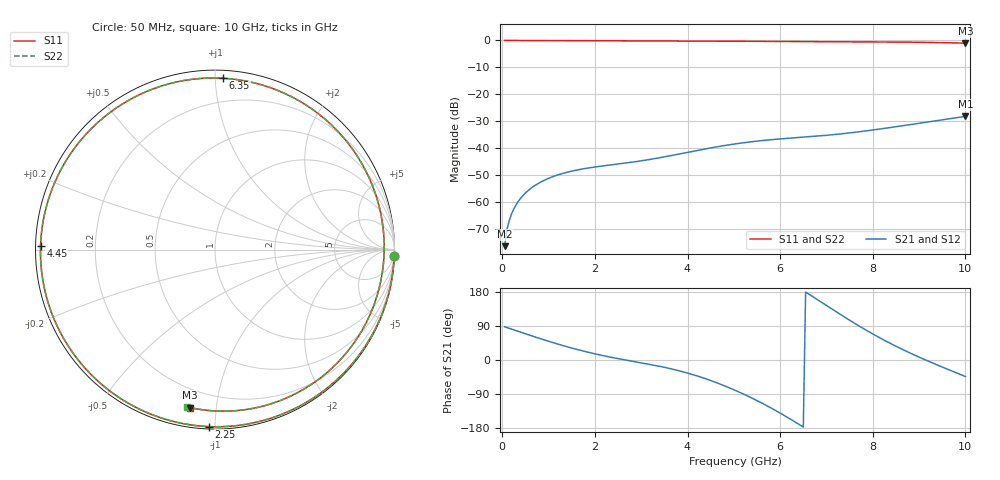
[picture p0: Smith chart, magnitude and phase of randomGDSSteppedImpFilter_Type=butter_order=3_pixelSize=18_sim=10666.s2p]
! freq	dB(S11)	phase(S11)	dB(S12)	phase(S12)
!  dB(S21)	phase(S21)	dB(S22)	phase(S22)
!S-par simulation data
#  GHz  S  DB  R 50
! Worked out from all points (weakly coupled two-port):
!   200 points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, 50 MHz to 10 GHz, reference 50 ohm
!   highest |S21| = -28.22 dB at 10 GHz (marker M1); lowest = -76.5 dB at 50 MHz (marker M2)
!   lowest |S11| = -1.0 dB at 10 GHz (marker M3), VSWR 17.33, Z = 4.97 - j42.4 ohm
!   |S11| at or under -10 dB: nowhere
!   |S22| runs from -1.0 to 0.0 dB; largest |S21 - S12| = 0
!   S11 on the Smith chart (normalised r, x): 50 MHz: 1, -54; 2.25 GHz: 0.01, -0.97; 4.45 GHz: 0.01, +0.01; 6.35 GHz: 0.05, +1.05; 10 GHz: 0.10, -0.85
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0.05  -0.01 -2.1  -76.46 87.7  -76.46 87.7  -0.01 -2.1
0.1  -0.01 -4.2  -70.47 85.6  -70.47 85.6  -0.01 -4.2
0.2  -0.01 -8.4  -64.49 81.5  -64.49 81.5  -0.01 -8.4
0.5  -0.02 -20.9  -56.70 69.2  -56.70 69.2  -0.02 -20.9
1  -0.05 -41.6  -51.24 49.4  -51.24 49.4  -0.05 -41.6
1.75  -0.09 -72.0  -47.71 23.5  -47.71 23.5  -0.09 -72.0
2.25  -0.11 -92.0  -46.46 9.6  -46.46 9.6  -0.11 -92.0
2.8  -0.14 -113.8  -45.25 -3.0  -45.25 -3.0  -0.14 -113.8
3.4  -0.18 -137.7  -43.58 -16.6  -43.58 -16.6  -0.18 -137.7
3.95  -0.21 -160.1  -41.75 -32.7  -41.75 -32.7  -0.21 -160.1
4.45  -0.25 178.7  -40.10 -52.0  -40.10 -52.0  -0.25 178.7
5.05  -0.29 151.9  -38.40 -81.1  -38.40 -81.1  -0.29 151.8
5.75  -0.35 118.2  -36.97 -123.1  -36.97 -123.1  -0.35 118.1
6.35  -0.39 87.3  -36.13 -165.5  -36.13 -165.5  -0.39 87.1
6.7  -0.42 68.7  -35.68 167.6  -35.68 167.6  -0.42 68.4
7.15  -0.44 44.4  -35.01 132.1  -35.01 132.1  -0.44 44.2
7.55  -0.47 23.0  -34.27 101.2  -34.27 101.2  -0.47 22.7
7.95  -0.51 2.1  -33.40 72.2  -33.40 72.2  -0.51 1.7
8.35  -0.56 -18.3  -32.44 45.7  -32.44 45.7  -0.56 -18.8
9.2  -0.72 -59.8  -30.28 -3.1  -30.28 -3.1  -0.72 -60.5
9.6  -0.84 -79.1  -29.24 -23.7  -29.24 -23.7  -0.84 -79.9
10  -1.00 -99.0  -28.22 -43.6  -28.22 -43.6  -1.01 -100.0
